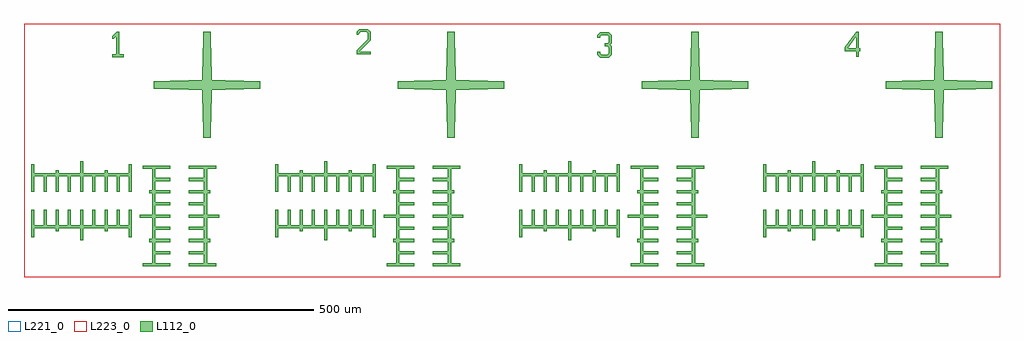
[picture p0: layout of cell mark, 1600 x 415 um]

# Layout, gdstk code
import gdstk
lib = gdstk.Library(unit=1e-6, precision=1e-09)
def R(c, l, rs):  # rectangles x0, y0, x1, y1
    for r in rs: c.add(gdstk.rectangle(r[:2], r[2:], *l))
def P(c, l, *ps):  # polygons
    for p in ps: c.add(gdstk.Polygon(p, *l))
L112_0 = (112, 0)
L221_0 = (221, 0)
L223_0 = (223, 0)

mark = lib.new_cell('mark')
R(mark, L112_0, [(1364.111,360.882,1368.711,402.432)])
P(mark, L112_0, [(1350.311,374.732),(1371.061,374.732),(1371.061,370.132),(1345.661,370.132),(1345.661,377.032),(1364.111,402.432),(1368.711,402.432),(1368.711,400.132)],
  [(940.111,392.232),(940.111,396.832),(944.711,401.432),(958.561,401.432),(963.161,396.832),(963.161,382.982),(960.861,380.682),(963.161,378.382),(963.161,364.532),(958.511,359.932),(944.661,359.932),(940.061,364.532),(940.061,369.132),(944.661,369.132),(944.661,366.832),(946.961,364.532),(956.211,364.532),(958.561,366.832),(958.561,376.082),(956.261,378.382),(951.661,378.382),(951.661,382.982),(956.261,382.982),(958.561,385.282),(958.561,394.532),(956.211,396.832),(946.961,396.832),(944.661,394.532),(944.661,392.232)],
  [(547.561,397.182),(552.161,401.782),(561.411,401.782),(563.661,399.482),(563.661,390.232),(545.211,371.782),(545.211,364.882),(568.311,364.882),(568.311,369.482),(549.861,369.482),(568.311,387.932),(568.311,401.782),(563.711,406.382),(549.861,406.382),(545.261,401.782),(545.261,397.182)],
  [(147.018,390.382),(151.618,394.982),(151.618,364.982),(144.718,364.982),(144.718,360.382),(163.168,360.382),(163.168,364.982),(156.268,364.982),(156.268,401.882),(151.668,401.882),(144.768,394.982),(144.768,390.382)],
  [(1390,97.5),(1410,97.5),(1410,62.5),(1405,62.5),(1405,57.5),(1410,57.5),(1410,22.5),(1395,22.5),(1395,17.5),(1440,17.5),(1440,22.5),(1415,22.5),(1415,37.5),(1440,37.5),(1440,42.5),(1415,42.5),(1415,57.5),(1440,57.5),(1440,62.5),(1415,62.5),(1415,77.5),(1440,77.5),(1440,82.5),(1415,82.5),(1415,97.5),(1440,97.5),(1440,102.5),(1415,102.5),(1415,117.5),(1440,117.5),(1440,122.5),(1415,122.5),(1415,137.5),(1440,137.5),(1440,142.5),(1415,142.5),(1415,157.5),(1440,157.5),(1440,162.5),(1415,162.5),(1415,177.5),(1440,177.5),(1440,182.5),(1395,182.5),(1395,177.5),(1410,177.5),(1410,142.5),(1405,142.5),(1405,137.5),(1410,137.5),(1410,102.5),(1390,102.5)],
  [(1212,140),(1217,140),(1217,165),(1232,165),(1232,140),(1237,140),(1237,165),(1252,165),(1252,140),(1257,140),(1257,165),(1272,165),(1272,140),(1277,140),(1277,165),(1292,165),(1292,140),(1297,140),(1297,165),(1312,165),(1312,140),(1317,140),(1317,165),(1332,165),(1332,140),(1337,140),(1337,165),(1352,165),(1352,140),(1357,140),(1357,165),(1372,165),(1372,140),(1377,140),(1377,185),(1372,185),(1372,170),(1337,170),(1337,175),(1332,175),(1332,170),(1297,170),(1297,190),(1292,190),(1292,170),(1257,170),(1257,175),(1252,175),(1252,170),(1217,170),(1217,185),(1212,185)],
  [(1470,17.5),(1515,17.5),(1515,22.5),(1500,22.5),(1500,57.5),(1505,57.5),(1505,62.5),(1500,62.5),(1500,97.5),(1520,97.5),(1520,102.5),(1500,102.5),(1500,137.5),(1505,137.5),(1505,142.5),(1500,142.5),(1500,177.5),(1515,177.5),(1515,182.5),(1470,182.5),(1470,177.5),(1495,177.5),(1495,162.5),(1470,162.5),(1470,157.5),(1495,157.5),(1495,142.5),(1470,142.5),(1470,137.5),(1495,137.5),(1495,122.5),(1470,122.5),(1470,117.5),(1495,117.5),(1495,102.5),(1470,102.5),(1470,97.5),(1495,97.5),(1495,82.5),(1470,82.5),(1470,77.5),(1495,77.5),(1495,62.5),(1470,62.5),(1470,57.5),(1495,57.5),(1495,42.5),(1470,42.5),(1470,37.5),(1495,37.5),(1495,22.5),(1470,22.5)],
  [(1212,65),(1217,65),(1217,80),(1252,80),(1252,75),(1257,75),(1257,80),(1292,80),(1292,60),(1297,60),(1297,80),(1332,80),(1332,75),(1337,75),(1337,80),(1372,80),(1372,65),(1377,65),(1377,110),(1372,110),(1372,85),(1357,85),(1357,110),(1352,110),(1352,85),(1337,85),(1337,110),(1332,110),(1332,85),(1317,85),(1317,110),(1312,110),(1312,85),(1297,85),(1297,110),(1292,110),(1292,85),(1277,85),(1277,110),(1272,110),(1272,85),(1257,85),(1257,110),(1252,110),(1252,85),(1237,85),(1237,110),(1232,110),(1232,85),(1217,85),(1217,110),(1212,110)],
  [(1413,309),(1440,309),(1440,308),(1470,308),(1470,307),(1492,307),(1492,285),(1493,285),(1493,255),(1494,255),(1494,228),(1506,228),(1506,255),(1507,255),(1507,285),(1508,285),(1508,307),(1530,307),(1530,308),(1560,308),(1560,309),(1587,309),(1587,321),(1560,321),(1560,322),(1530,322),(1530,323),(1508,323),(1508,345),(1507,345),(1507,375),(1506,375),(1506,402),(1494,402),(1494,375),(1493,375),(1493,345),(1492,345),(1492,323),(1470,323),(1470,322),(1440,322),(1440,321),(1413,321)],
  [(990,97.5),(1010,97.5),(1010,62.5),(1005,62.5),(1005,57.5),(1010,57.5),(1010,22.5),(995,22.5),(995,17.5),(1040,17.5),(1040,22.5),(1015,22.5),(1015,37.5),(1040,37.5),(1040,42.5),(1015,42.5),(1015,57.5),(1040,57.5),(1040,62.5),(1015,62.5),(1015,77.5),(1040,77.5),(1040,82.5),(1015,82.5),(1015,97.5),(1040,97.5),(1040,102.5),(1015,102.5),(1015,117.5),(1040,117.5),(1040,122.5),(1015,122.5),(1015,137.5),(1040,137.5),(1040,142.5),(1015,142.5),(1015,157.5),(1040,157.5),(1040,162.5),(1015,162.5),(1015,177.5),(1040,177.5),(1040,182.5),(995,182.5),(995,177.5),(1010,177.5),(1010,142.5),(1005,142.5),(1005,137.5),(1010,137.5),(1010,102.5),(990,102.5)],
  [(812,140),(817,140),(817,165),(832,165),(832,140),(837,140),(837,165),(852,165),(852,140),(857,140),(857,165),(872,165),(872,140),(877,140),(877,165),(892,165),(892,140),(897,140),(897,165),(912,165),(912,140),(917,140),(917,165),(932,165),(932,140),(937,140),(937,165),(952,165),(952,140),(957,140),(957,165),(972,165),(972,140),(977,140),(977,185),(972,185),(972,170),(937,170),(937,175),(932,175),(932,170),(897,170),(897,190),(892,190),(892,170),(857,170),(857,175),(852,175),(852,170),(817,170),(817,185),(812,185)],
  [(1070,17.5),(1115,17.5),(1115,22.5),(1100,22.5),(1100,57.5),(1105,57.5),(1105,62.5),(1100,62.5),(1100,97.5),(1120,97.5),(1120,102.5),(1100,102.5),(1100,137.5),(1105,137.5),(1105,142.5),(1100,142.5),(1100,177.5),(1115,177.5),(1115,182.5),(1070,182.5),(1070,177.5),(1095,177.5),(1095,162.5),(1070,162.5),(1070,157.5),(1095,157.5),(1095,142.5),(1070,142.5),(1070,137.5),(1095,137.5),(1095,122.5),(1070,122.5),(1070,117.5),(1095,117.5),(1095,102.5),(1070,102.5),(1070,97.5),(1095,97.5),(1095,82.5),(1070,82.5),(1070,77.5),(1095,77.5),(1095,62.5),(1070,62.5),(1070,57.5),(1095,57.5),(1095,42.5),(1070,42.5),(1070,37.5),(1095,37.5),(1095,22.5),(1070,22.5)],
  [(812,65),(817,65),(817,80),(852,80),(852,75),(857,75),(857,80),(892,80),(892,60),(897,60),(897,80),(932,80),(932,75),(937,75),(937,80),(972,80),(972,65),(977,65),(977,110),(972,110),(972,85),(957,85),(957,110),(952,110),(952,85),(937,85),(937,110),(932,110),(932,85),(917,85),(917,110),(912,110),(912,85),(897,85),(897,110),(892,110),(892,85),(877,85),(877,110),(872,110),(872,85),(857,85),(857,110),(852,110),(852,85),(837,85),(837,110),(832,110),(832,85),(817,85),(817,110),(812,110)],
  [(1013,309),(1040,309),(1040,308),(1070,308),(1070,307),(1092,307),(1092,285),(1093,285),(1093,255),(1094,255),(1094,228),(1106,228),(1106,255),(1107,255),(1107,285),(1108,285),(1108,307),(1130,307),(1130,308),(1160,308),(1160,309),(1187,309),(1187,321),(1160,321),(1160,322),(1130,322),(1130,323),(1108,323),(1108,345),(1107,345),(1107,375),(1106,375),(1106,402),(1094,402),(1094,375),(1093,375),(1093,345),(1092,345),(1092,323),(1070,323),(1070,322),(1040,322),(1040,321),(1013,321)],
  [(590,97.5),(610,97.5),(610,62.5),(605,62.5),(605,57.5),(610,57.5),(610,22.5),(595,22.5),(595,17.5),(640,17.5),(640,22.5),(615,22.5),(615,37.5),(640,37.5),(640,42.5),(615,42.5),(615,57.5),(640,57.5),(640,62.5),(615,62.5),(615,77.5),(640,77.5),(640,82.5),(615,82.5),(615,97.5),(640,97.5),(640,102.5),(615,102.5),(615,117.5),(640,117.5),(640,122.5),(615,122.5),(615,137.5),(640,137.5),(640,142.5),(615,142.5),(615,157.5),(640,157.5),(640,162.5),(615,162.5),(615,177.5),(640,177.5),(640,182.5),(595,182.5),(595,177.5),(610,177.5),(610,142.5),(605,142.5),(605,137.5),(610,137.5),(610,102.5),(590,102.5)],
  [(412,140),(417,140),(417,165),(432,165),(432,140),(437,140),(437,165),(452,165),(452,140),(457,140),(457,165),(472,165),(472,140),(477,140),(477,165),(492,165),(492,140),(497,140),(497,165),(512,165),(512,140),(517,140),(517,165),(532,165),(532,140),(537,140),(537,165),(552,165),(552,140),(557,140),(557,165),(572,165),(572,140),(577,140),(577,185),(572,185),(572,170),(537,170),(537,175),(532,175),(532,170),(497,170),(497,190),(492,190),(492,170),(457,170),(457,175),(452,175),(452,170),(417,170),(417,185),(412,185)],
  [(670,17.5),(715,17.5),(715,22.5),(700,22.5),(700,57.5),(705,57.5),(705,62.5),(700,62.5),(700,97.5),(720,97.5),(720,102.5),(700,102.5),(700,137.5),(705,137.5),(705,142.5),(700,142.5),(700,177.5),(715,177.5),(715,182.5),(670,182.5),(670,177.5),(695,177.5),(695,162.5),(670,162.5),(670,157.5),(695,157.5),(695,142.5),(670,142.5),(670,137.5),(695,137.5),(695,122.5),(670,122.5),(670,117.5),(695,117.5),(695,102.5),(670,102.5),(670,97.5),(695,97.5),(695,82.5),(670,82.5),(670,77.5),(695,77.5),(695,62.5),(670,62.5),(670,57.5),(695,57.5),(695,42.5),(670,42.5),(670,37.5),(695,37.5),(695,22.5),(670,22.5)],
  [(412,65),(417,65),(417,80),(452,80),(452,75),(457,75),(457,80),(492,80),(492,60),(497,60),(497,80),(532,80),(532,75),(537,75),(537,80),(572,80),(572,65),(577,65),(577,110),(572,110),(572,85),(557,85),(557,110),(552,110),(552,85),(537,85),(537,110),(532,110),(532,85),(517,85),(517,110),(512,110),(512,85),(497,85),(497,110),(492,110),(492,85),(477,85),(477,110),(472,110),(472,85),(457,85),(457,110),(452,110),(452,85),(437,85),(437,110),(432,110),(432,85),(417,85),(417,110),(412,110)],
  [(613,309),(640,309),(640,308),(670,308),(670,307),(692,307),(692,285),(693,285),(693,255),(694,255),(694,228),(706,228),(706,255),(707,255),(707,285),(708,285),(708,307),(730,307),(730,308),(760,308),(760,309),(787,309),(787,321),(760,321),(760,322),(730,322),(730,323),(708,323),(708,345),(707,345),(707,375),(706,375),(706,402),(694,402),(694,375),(693,375),(693,345),(692,345),(692,323),(670,323),(670,322),(640,322),(640,321),(613,321)],
  [(190,97.5),(210,97.5),(210,62.5),(205,62.5),(205,57.5),(210,57.5),(210,22.5),(195,22.5),(195,17.5),(240,17.5),(240,22.5),(215,22.5),(215,37.5),(240,37.5),(240,42.5),(215,42.5),(215,57.5),(240,57.5),(240,62.5),(215,62.5),(215,77.5),(240,77.5),(240,82.5),(215,82.5),(215,97.5),(240,97.5),(240,102.5),(215,102.5),(215,117.5),(240,117.5),(240,122.5),(215,122.5),(215,137.5),(240,137.5),(240,142.5),(215,142.5),(215,157.5),(240,157.5),(240,162.5),(215,162.5),(215,177.5),(240,177.5),(240,182.5),(195,182.5),(195,177.5),(210,177.5),(210,142.5),(205,142.5),(205,137.5),(210,137.5),(210,102.5),(190,102.5)],
  [(12,140),(17,140),(17,165),(32,165),(32,140),(37,140),(37,165),(52,165),(52,140),(57,140),(57,165),(72,165),(72,140),(77,140),(77,165),(92,165),(92,140),(97,140),(97,165),(112,165),(112,140),(117,140),(117,165),(132,165),(132,140),(137,140),(137,165),(152,165),(152,140),(157,140),(157,165),(172,165),(172,140),(177,140),(177,185),(172,185),(172,170),(137,170),(137,175),(132,175),(132,170),(97,170),(97,190),(92,190),(92,170),(57,170),(57,175),(52,175),(52,170),(17,170),(17,185),(12,185)],
  [(270,17.5),(315,17.5),(315,22.5),(300,22.5),(300,57.5),(305,57.5),(305,62.5),(300,62.5),(300,97.5),(320,97.5),(320,102.5),(300,102.5),(300,137.5),(305,137.5),(305,142.5),(300,142.5),(300,177.5),(315,177.5),(315,182.5),(270,182.5),(270,177.5),(295,177.5),(295,162.5),(270,162.5),(270,157.5),(295,157.5),(295,142.5),(270,142.5),(270,137.5),(295,137.5),(295,122.5),(270,122.5),(270,117.5),(295,117.5),(295,102.5),(270,102.5),(270,97.5),(295,97.5),(295,82.5),(270,82.5),(270,77.5),(295,77.5),(295,62.5),(270,62.5),(270,57.5),(295,57.5),(295,42.5),(270,42.5),(270,37.5),(295,37.5),(295,22.5),(270,22.5)],
  [(12,65),(17,65),(17,80),(52,80),(52,75),(57,75),(57,80),(92,80),(92,60),(97,60),(97,80),(132,80),(132,75),(137,75),(137,80),(172,80),(172,65),(177,65),(177,110),(172,110),(172,85),(157,85),(157,110),(152,110),(152,85),(137,85),(137,110),(132,110),(132,85),(117,85),(117,110),(112,110),(112,85),(97,85),(97,110),(92,110),(92,85),(77,85),(77,110),(72,110),(72,85),(57,85),(57,110),(52,110),(52,85),(37,85),(37,110),(32,110),(32,85),(17,85),(17,110),(12,110)],
  [(213,309),(240,309),(240,308),(270,308),(270,307),(292,307),(292,285),(293,285),(293,255),(294,255),(294,228),(306,228),(306,255),(307,255),(307,285),(308,285),(308,307),(330,307),(330,308),(360,308),(360,309),(387,309),(387,321),(360,321),(360,322),(330,322),(330,323),(308,323),(308,345),(307,345),(307,375),(306,375),(306,402),(294,402),(294,375),(293,375),(293,345),(292,345),(292,323),(270,323),(270,322),(240,322),(240,321),(213,321)])
R(mark, L221_0, [(0,0,1600,415)])
R(mark, L223_0, [(0,0,1600,415)])

lib.write_gds('mark.gds')
